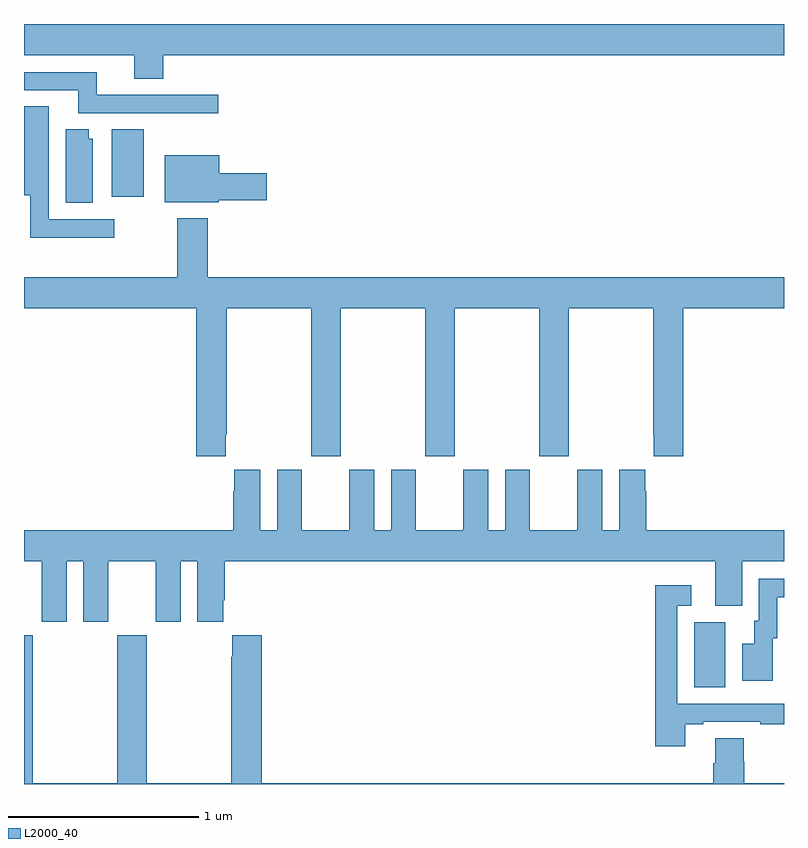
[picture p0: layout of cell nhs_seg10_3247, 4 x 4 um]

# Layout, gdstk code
import gdstk
lib = gdstk.Library(unit=1e-6, precision=1e-09)
def R(c, l, rs):  # rectangles x0, y0, x1, y1
    for r in rs: c.add(gdstk.rectangle(r[:2], r[2:], *l))
def P(c, l, *ps):  # polygons
    for p in ps: c.add(gdstk.Polygon(p, *l))
L2000_40 = (2000, 40)

nhs_seg10_3247 = lib.new_cell('nhs_seg10_3247')
R(nhs_seg10_3247, L2000_40, [(290.528,1277.008,290.692,1277.352), (287.462,1279.59,287.629,1279.946)])
P(nhs_seg10_3247, L2000_40, [(287.732,1280.336),(291,1280.336),(291,1280.5),(287,1280.5),(287,1280.336),(287.579,1280.336),(287.579,1280.212),(287.732,1280.212)],
  [(288.022,1280.127),(287.384,1280.127),(287.384,1280.247),(287,1280.247),(287,1280.151),(287.285,1280.151),(287.285,1280.031),(287.725,1280.031),(287.725,1280.029),(288.022,1280.029)],
  [(287.476,1279.473),(287.131,1279.473),(287.131,1280.066),(287,1280.066),(287,1279.598),(287.033,1279.598),(287.033,1279.376),(287.476,1279.376)],
  [(287.362,1279.896),(287.341,1279.896),(287.341,1279.946),(287.219,1279.946),(287.219,1279.558),(287.362,1279.558)],
  [(288.024,1279.573),(288.277,1279.573),(288.277,1279.715),(288.028,1279.715),(288.028,1279.81),(287.741,1279.81),(287.741,1279.562),(288.024,1279.562)],
  [(288.061,1278.337),(288.066,1278.337),(288.066,1279.004),(288.511,1279.004),(288.511,1278.225),(288.666,1278.225),(288.666,1279.004),(289.111,1279.004),(289.111,1278.225),(289.266,1278.225),(289.266,1279.004),(289.711,1279.004),(289.711,1278.225),(289.866,1278.225),(289.866,1279.004),(290.311,1279.004),(290.311,1278.337),(290.315,1278.337),(290.315,1278.225),(290.471,1278.225),(290.471,1279.004),(291,1279.004),(291,1279.168),(287.966,1279.168),(287.966,1279.477),(287.806,1279.477),(287.806,1279.168),(287,1279.168),(287,1279.004),(287.906,1279.004),(287.906,1278.225),(288.061,1278.225)],
  [(290.639,1277.437),(290.779,1277.437),(290.779,1277.672),(291,1277.672),(291,1277.836),(290.276,1277.836),(290.276,1278.041),(290.269,1278.041),(290.269,1278.154),(290.132,1278.154),(290.132,1277.836),(290.044,1277.836),(290.044,1278.154),(289.913,1278.154),(289.913,1277.836),(289.663,1277.836),(289.663,1278.154),(289.532,1278.154),(289.532,1277.836),(289.444,1277.836),(289.444,1278.154),(289.313,1278.154),(289.313,1277.836),(289.063,1277.836),(289.063,1278.154),(288.932,1278.154),(288.932,1277.836),(288.844,1277.836),(288.844,1278.154),(288.713,1278.154),(288.713,1277.836),(288.463,1277.836),(288.463,1278.154),(288.332,1278.154),(288.332,1277.836),(288.244,1277.836),(288.244,1278.154),(288.107,1278.154),(288.107,1278.041),(288.101,1278.041),(288.101,1277.836),(287,1277.836),(287,1277.672),(287.093,1277.672),(287.093,1277.355),(287.224,1277.355),(287.224,1277.672),(287.312,1277.672),(287.312,1277.355),(287.443,1277.355),(287.443,1277.672),(287.693,1277.672),(287.693,1277.355),(287.824,1277.355),(287.824,1277.672),(287.912,1277.672),(287.912,1277.355),(288.049,1277.355),(288.049,1277.467),(288.056,1277.467),(288.056,1277.672),(290.639,1277.672)],
  [(290.941,1277.268),(290.965,1277.268),(290.965,1277.484),(291,1277.484),(291,1277.58),(290.868,1277.58),(290.868,1277.358),(290.843,1277.358),(290.843,1277.239),(290.78,1277.239),(290.78,1277.043),(290.941,1277.043)],
  [(290.479,1276.815),(290.575,1276.815),(290.575,1276.827),(290.875,1276.827),(290.875,1276.815),(291,1276.815),(291,1276.923),(290.439,1276.923),(290.439,1277.439),(290.512,1277.439),(290.512,1277.545),(290.323,1277.545),(290.323,1276.698),(290.479,1276.698)],
  [(291,1276.504),(290.792,1276.504),(290.792,1276.617),(290.787,1276.617),(290.787,1276.742),(290.639,1276.742),(290.639,1276.61),(290.627,1276.61),(290.627,1276.504),(288.251,1276.504),(288.251,1277.284),(288.095,1277.284),(288.095,1277.171),(288.091,1277.171),(288.091,1276.504),(287.646,1276.504),(287.646,1277.284),(287.491,1277.284),(287.491,1276.504),(287.046,1276.504),(287.046,1277.284),(287,1277.284),(287,1276.5),(291,1276.5)])

lib.write_gds('nhs_seg10_3247.gds')
